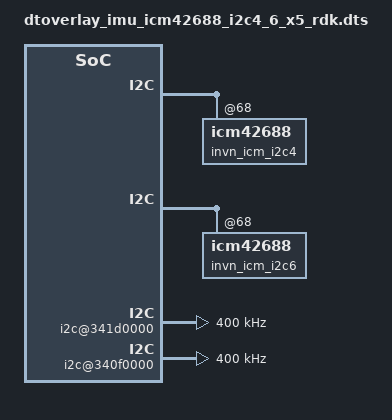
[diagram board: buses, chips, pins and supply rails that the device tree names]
/dts-v1/;
/plugin/;

/ {

  fragment@0 {
    target-path = "/soc/a55_apb0/i2c@340f0000/";
    __overlay__ {

        invn_icm_i2c4: icm42688@68 {
            status = "okay";
        };


    };
  };

  fragment@1 {
    target-path = "/soc/a55_apb0/i2c@341d0000/";
    __overlay__ {

        invn_icm_i2c6: icm42688@68 {
            status = "okay";
        };
    };
  };

  fragment@2 {
    target-path = "/soc/a55_apb0/i2c@341d0000";
    __overlay__ {

        /* 400kHz fast mode: 100kHz caps DRDY handling at ~240Hz */
        clock-frequency = <400000>;
    };
  };

  fragment@3 {
    target-path = "/soc/a55_apb0/i2c@340f0000";
    __overlay__ {

        /* same as i2c6: module may plug into either connector */
        clock-frequency = <400000>;
    };
  };

};

